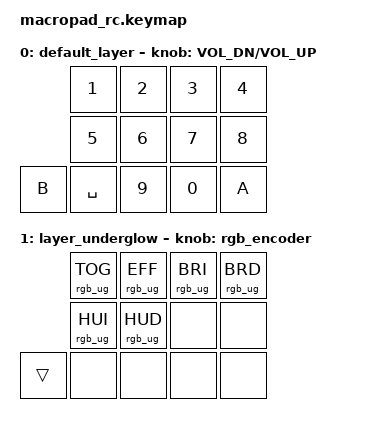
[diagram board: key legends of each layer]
// This file was generated from a template. Edit it to match your keyboard.
// See https://zmk.dev/docs/development/hardware-integration/new-shield for more instructions.

#include <behaviors.dtsi>
#include <dt-bindings/zmk/keys.h>
#include <dt-bindings/zmk/rgb.h>

/ {
    behaviors {
        rgb_encoder: rgb_encoder {
            compatible = "zmk,behavior-sensor-rotate";
            #sensor-binding-cells = <0>;
            bindings = <&rgb_ug RGB_BRD>, <&rgb_ug RGB_BRI>;
        };
    };

    // Define a default keymap here.
    // See https://zmk.dev/docs/development/hardware-integration/new-shield#default-keymap.
    keymap {
        compatible = "zmk,keymap";

        default_layer {
            bindings = <
                                &kp N1      &kp N2      &kp N3      &kp N4
                                &kp N5      &kp N6      &kp N7      &kp N8
                &kp SPACE       &kp N9      &kp N0      &kp A       &kp B
            >;

            sensor-bindings = <&inc_dec_kp C_VOL_DN C_VOL_UP>;
        };

        // fn_layer {
        //     display-name = "Fn";
        //     bindings =
        // };

        layer_2 {
            status = "reserved";
        };

        layer_3 {
            status = "reserved";
        };

        layer_4 {
            status = "reserved";
        };

        layer_underglow {
            bindings = <
                            &rgb_ug RGB_TOG     &rgb_ug RGB_EFF     &rgb_ug RGB_BRI     &rgb_ug RGB_BRD
                            &rgb_ug RGB_HUI     &rgb_ug RGB_HUD     &none               &none
                &none       &none               &none               &none               &trans
            >;

            sensor-bindings = <&rgb_encoder>;
        };
    };
};
